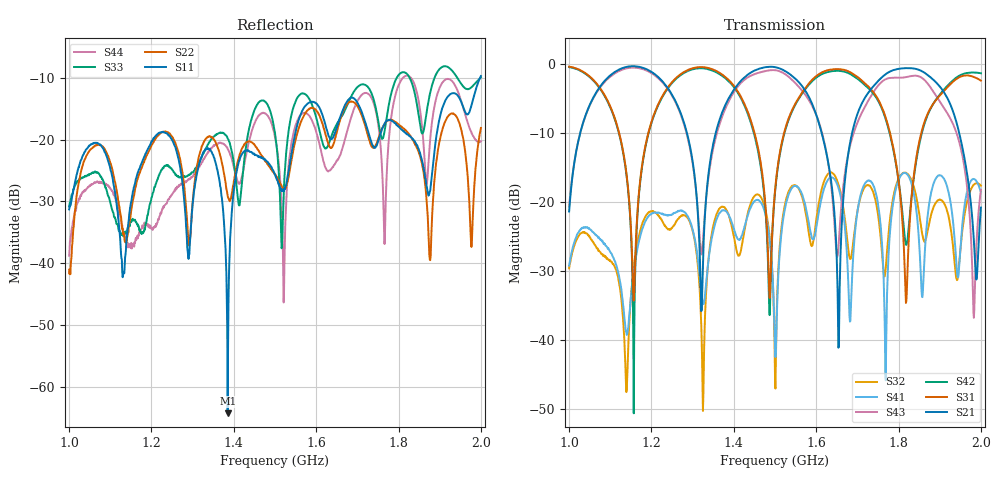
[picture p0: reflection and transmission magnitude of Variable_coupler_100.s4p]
#  HZ  S  DB  R  50.00
! Rohde & Schwarz Vector Network Analyzer
! Rohde-Schwarz,ZNB8-4Port,1311601044102961,2.82
! Created: UTC 1/17/2019, 3:16:11 PM
! freq[Hz]  db:S11  ang:S11  db:S12  ang:S12  db:S13  ang:S13  db:S14  ang:S14
!  db:S21  ang:S21  db:S22  ang:S22  db:S23  ang:S23  db:S24  ang:S24
!  db:S31  ang:S31  db:S32  ang:S32  db:S33  ang:S33  db:S34  ang:S34
!  db:S41  ang:S41  db:S42  ang:S42  db:S43  ang:S43  db:S44  ang:S44
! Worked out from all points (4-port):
!   1001 points, 1 GHz to 2 GHz, reference 50 ohm
!   strongest paths, dB at 1 GHz, 1.25 GHz, 1.5 GHz, 1.75 GHz, 2 GHz:
!     S21: -21.4, -4.4, -0.4, -2.5, -20.8
!     S31: -0.4, -2.6, -18.4, -5.1, -2.4
!     S42: -0.4, -2.7, -18.6, -5.3, -1.3
!     S43: -20.6, -4.6, -0.9, -3.1, -18.2
!     S41: -29.2, -21.8, -41.0, -20.2, -18.5
!     S32: -29.6, -23.7, -45.2, -21.7, -17.6
!   lowest |S11| = -64.3 dB at 1.385 GHz (marker M1), VSWR 1.00, Z = 50 - j0.0436 ohm
!   |S11| at or under -10 dB: start of sweep to 1.998 GHz
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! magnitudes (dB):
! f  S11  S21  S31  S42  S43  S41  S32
! 1 GHz  -31.3  -21.4  -0.4  -0.4  -20.6  -29.2  -29.6
! 1.157 GHz  -27.8  -0.3  -34.3  -50.6  -0.5  -30.0  -29.4
! 1.321 GHz  -22.9  -35.8  -0.4  -0.6  -27.6  -32.9  -37.9
! 1.385 GHz  -64.3  -5.2  -2.1  -2.3  -5.7  -21.6  -21.5
! 1.487 GHz  -24.0  -0.4  -33.9  -36.4  -0.9  -25.4  -25.0
! 1.654 GHz  -17.2  -41.1  -0.7  -1.0  -26.6  -17.9  -17.4
! 2 GHz  -9.7  -20.8  -2.4  -1.3  -18.2  -18.5  -17.6
